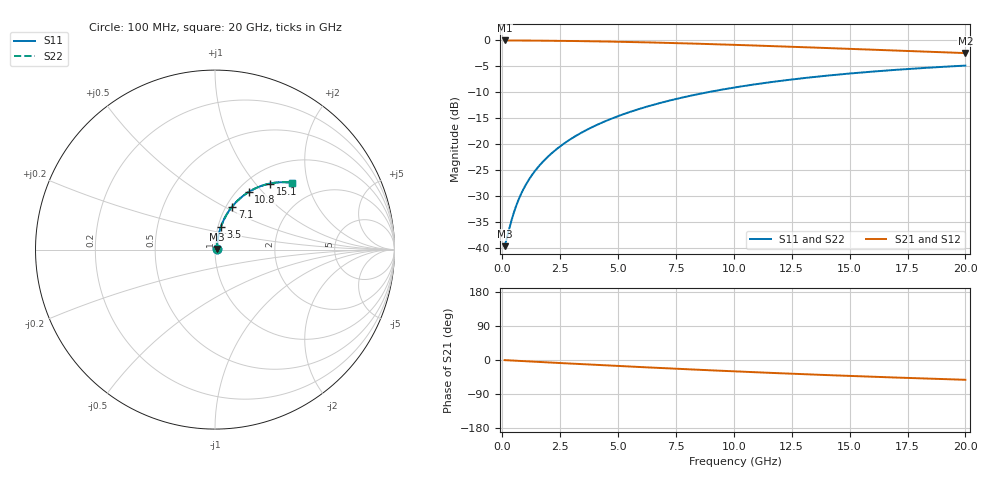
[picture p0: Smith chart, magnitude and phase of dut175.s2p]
! Touchstone file exported from HFSS 2024.1.0
!  File:  C:/UserFiles/LocalFiles/RDL_TSV_Batchsim/temp_RDL_bottom_175_1778698428.aedt
!  Generated:  02:56:29 AM May 14, 2026
!  Design:  RDL_bottom
!  Project:  temp_RDL_bottom_175_1778698428
!  Setup:  Setup1
!  Solution:  Sweep
! Variables:
!  dtsv = 10.80580581um
!  hbump = 3um
!  htsv = 94.43um
!  ldown = 667.03um
!  lrdl = 100um
!  p = 40
!  p1 = 51.02um
!  rhole = 1um
!  t = 450um
!  tdown = 2.11um
!  trdl = 3.915915916um
!  wdown = 11.47um
!  wrdl = 20um
# GHz S MA R 50.000000
! Terminal data exported
! Port[1] = RDL1_T1
! Port[2] = RDL1_T2
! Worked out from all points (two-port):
!   200 points, 100 MHz to 20 GHz, reference 50 ohm
!   highest |S21| = -0.09 dB at 100 MHz (marker M1); lowest = -2.5 dB at 20 GHz (marker M2)
!   |S21| within 3 dB of the highest: start of sweep to end of sweep
!   lowest |S11| = -39.6 dB at 100 MHz (marker M3), VSWR 1.02, Z = 51 + j0.4 ohm
!   |S11| at or under -10 dB: start of sweep to 8.9 GHz
!   |S22| runs from -39.6 to -4.9 dB; largest |S21 - S12| = 4.1e-15
!   S11 on the Smith chart (normalised r, x): 100 MHz: 1.02, +0.01; 3.5 GHz: 1.03, +0.27; 7.1 GHz: 1.07, +0.55; 10.8 GHz: 1.13, +0.84; 15.1 GHz: 1.25, +1.19; 20 GHz: 1.46, +1.60
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0.1  0.01052 21.9  0.9902 -0.3  0.9902 -0.3  0.01052 21.9
! Gamma 0 0 0 0
! Port Impedance 50 0 50 0
0.4  0.01866 56.7  0.9899 -1.3  0.9899 -1.3  0.01866 56.7
0.6  0.02566 65.0  0.9894 -2.0  0.9894 -2.0  0.02566 65.0
0.7  0.02927 67.5  0.9891 -2.3  0.9891 -2.3  0.02927 67.5
0.9  0.03658 70.8  0.9885 -2.9  0.9885 -2.9  0.03658 70.8
1.1  0.04393 72.8  0.9879 -3.6  0.9879 -3.6  0.04393 72.8
1.3  0.05129 74.1  0.9872 -4.2  0.9872 -4.2  0.05129 74.1
1.7  0.06601 75.6  0.9856 -5.5  0.9856 -5.5  0.06601 75.6
2.2  0.08441 76.2  0.9833 -7.1  0.9833 -7.1  0.08441 76.2
2.8  0.1065 76.1  0.98 -8.9  0.98 -8.9  0.1065 76.1
3.5  0.132 75.4  0.9753 -11.1  0.9753 -11.1  0.132 75.4
4.2  0.1574 74.3  0.9698 -13.3  0.9698 -13.3  0.1574 74.3
5  0.186 72.8  0.9625 -15.7  0.9625 -15.7  0.186 72.8
6.8  0.2483 68.9  0.9428 -21.0  0.9428 -21.0  0.2483 68.9
7.1  0.2583 68.2  0.9391 -21.9  0.9391 -21.9  0.2583 68.2
8.5  0.3037 65.0  0.9207 -25.8  0.9207 -25.8  0.3037 65.0
10.1  0.3523 61.2  0.8978 -30.2  0.8978 -30.2  0.3523 61.2
10.8  0.3724 59.6  0.8874 -32.0  0.8874 -32.0  0.3724 59.6
13.4  0.4402 53.8  0.8474 -38.4  0.8474 -38.4  0.4402 53.8
15.1  0.479 50.2  0.8211 -42.2  0.8211 -42.2  0.479 50.2
16.7  0.5117 47.0  0.7967 -45.7  0.7967 -45.7  0.5117 47.0
20  0.5683 40.9  0.7492 -52.2  0.7492 -52.2  0.5683 40.9
